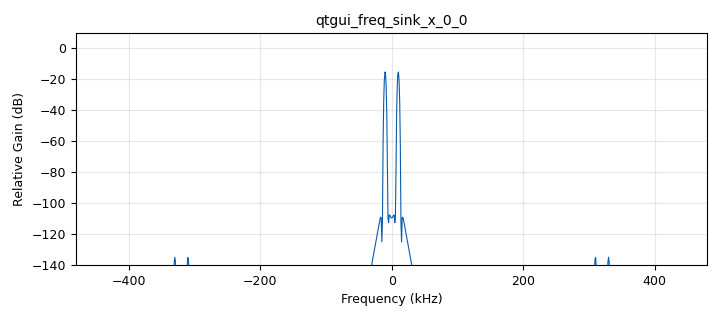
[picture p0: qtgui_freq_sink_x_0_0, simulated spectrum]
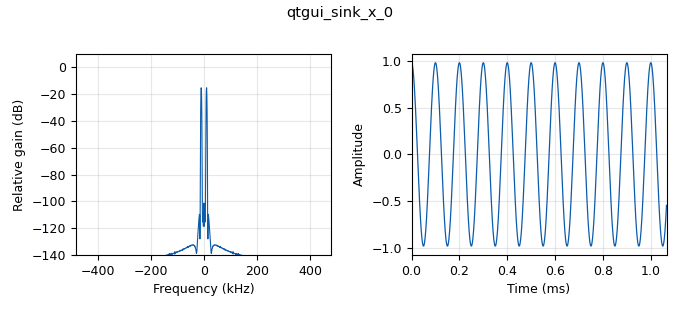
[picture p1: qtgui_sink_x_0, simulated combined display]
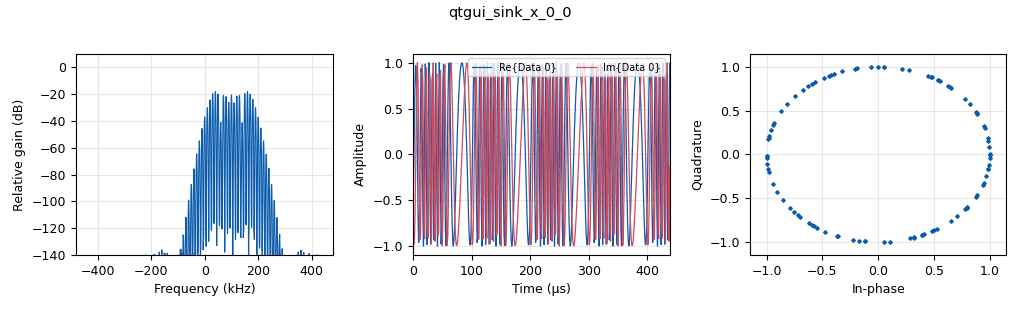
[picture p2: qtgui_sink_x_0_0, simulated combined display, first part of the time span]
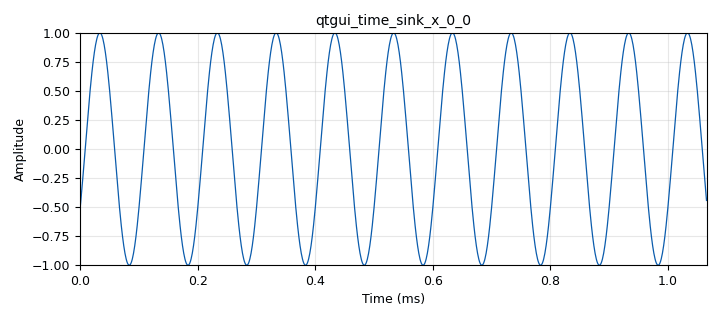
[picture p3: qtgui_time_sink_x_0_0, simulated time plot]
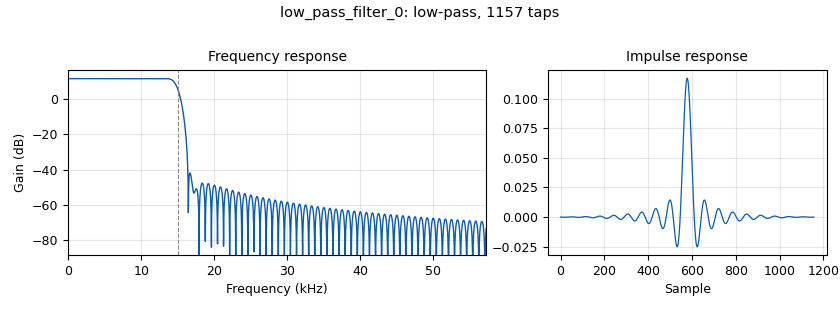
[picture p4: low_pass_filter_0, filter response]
options:
  parameters:
    category: Custom
    generate_options: qt_gui
    id: top_block
    output_language: python
  states: {}

blocks:
- name: fc
  id: variable
  parameters:
    value: '100000'
  states: {}
- name: fm
  id: variable
  parameters:
    value: '10000'
  states: {}
- name: samp_rate
  id: variable
  parameters:
    value: '960000'
  states: {}
- name: analog_phase_modulator_fc_0
  id: analog_phase_modulator_fc
  parameters:
    sensitivity: 6.28*75000
  states: {}
- name: analog_sig_source_x_0
  id: analog_sig_source_x
  parameters:
    amp: '1'
    freq: fc
    offset: '0'
    phase: '0'
    samp_rate: samp_rate
    type: complex
    waveform: analog.GR_COS_WAVE
  states: {}
- name: blocks_complex_to_arg_0
  id: blocks_complex_to_arg
  parameters: {}
  states: {}
- name: blocks_complex_to_float_0
  id: blocks_complex_to_float
  parameters: {}
  states: {state: disabled}
- name: blocks_conjugate_cc_0
  id: blocks_conjugate_cc
  parameters: {}
  states: {}
- name: blocks_delay_0
  id: blocks_delay
  parameters:
    delay: '1'
    type: complex
  states: {}
- name: blocks_multiply_xx_0
  id: blocks_multiply_xx
  parameters:
    type: complex
  states: {}
- name: blocks_multiply_xx_1
  id: blocks_multiply_xx
  parameters:
    type: complex
  states: {}
- name: blocks_throttle_0
  id: blocks_throttle
  parameters:
    samples_per_second: 32000*30
    type: float
  states: {}
- name: blocks_throttle_0_0
  id: blocks_throttle
  parameters:
    samples_per_second: samp_rate
    type: float
  states: {}
- name: dc_blocker_xx_0
  id: dc_blocker_xx
  parameters:
    length: '32'
    long_form: 'True'
    type: ff
  states: {}
- name: iir_filter_xxx_0
  id: iir_filter_xxx
  parameters:
    fbtaps: '[1,1]'
    fftaps: 1/samp_rate
    type: ffd
  states: {}
- name: low_pass_filter_0
  id: low_pass_filter
  parameters:
    cutoff_freq: '15000'
    decim: '1'
    gain: '3.75'
    samp_rate: samp_rate
    type: fir_filter_fff
    width: '2000'
    win: firdes.WIN_HAMMING
  states: {}
- name: msg
  id: analog_sig_source_x
  parameters:
    amp: '1'
    freq: fm
    offset: '0'
    phase: '0'
    samp_rate: samp_rate
    type: float
    waveform: analog.GR_COS_WAVE
  states: {}
- name: qtgui_freq_sink_x_0
  id: qtgui_freq_sink_x
  parameters:
    bw: 32000*30
    fc: '0'
    fftsize: '1024'
    gui_hint: tab@1
    type: float
    wintype: firdes.WIN_BLACKMAN_hARRIS
  states: {state: disabled}
- name: qtgui_freq_sink_x_0_0
  id: qtgui_freq_sink_x
  parameters:
    bw: samp_rate
    fc: '0'
    fftsize: '1024'
    gui_hint: tab@0
    type: float
    wintype: firdes.WIN_BLACKMAN_hARRIS
  states: {}
- name: qtgui_sink_x_0
  id: qtgui_sink_x
  parameters:
    bw: samp_rate
    fc: '0'
    fftsize: '1024'
    gui_hint: tab@1
    type: float
    wintype: firdes.WIN_BLACKMAN_hARRIS
  states: {}
- name: qtgui_sink_x_0_0
  id: qtgui_sink_x
  parameters:
    bw: samp_rate
    fc: '0'
    fftsize: '1024'
    type: complex
    wintype: firdes.WIN_BLACKMAN_hARRIS
  states: {}
- name: qtgui_time_sink_x_0
  id: qtgui_time_sink_x
  parameters:
    gui_hint: tab@1
    size: '1024'
    srate: 32000*30
    type: float
  states: {state: disabled}
- name: qtgui_time_sink_x_0_0
  id: qtgui_time_sink_x
  parameters:
    gui_hint: tab@0
    size: '1024'
    srate: samp_rate
    type: float
  states: {}
- name: tab
  id: qtgui_tab_widget
  parameters:
    label0: msg
    label1: demod
    num_tabs: '2'
  states: {}

connections:
- [analog_phase_modulator_fc_0, '0', blocks_multiply_xx_1, '0']
- [analog_sig_source_x_0, '0', blocks_multiply_xx_1, '1']
- [blocks_complex_to_arg_0, '0', low_pass_filter_0, '0']
- [blocks_conjugate_cc_0, '0', blocks_multiply_xx_0, '0']
- [blocks_delay_0, '0', blocks_conjugate_cc_0, '0']
- [blocks_multiply_xx_0, '0', blocks_complex_to_arg_0, '0']
- [blocks_multiply_xx_1, '0', blocks_delay_0, '0']
- [blocks_multiply_xx_1, '0', blocks_multiply_xx_0, '1']
- [blocks_multiply_xx_1, '0', qtgui_sink_x_0_0, '0']
- [blocks_throttle_0, '0', qtgui_freq_sink_x_0, '0']
- [blocks_throttle_0, '0', qtgui_sink_x_0, '0']
- [blocks_throttle_0, '0', qtgui_time_sink_x_0, '0']
- [blocks_throttle_0_0, '0', qtgui_freq_sink_x_0_0, '0']
- [blocks_throttle_0_0, '0', qtgui_time_sink_x_0_0, '0']
- [dc_blocker_xx_0, '0', blocks_throttle_0, '0']
- [iir_filter_xxx_0, '0', analog_phase_modulator_fc_0, '0']
- [low_pass_filter_0, '0', dc_blocker_xx_0, '0']
- [msg, '0', blocks_throttle_0_0, '0']
- [msg, '0', iir_filter_xxx_0, '0']

metadata:
  file_format: 1
